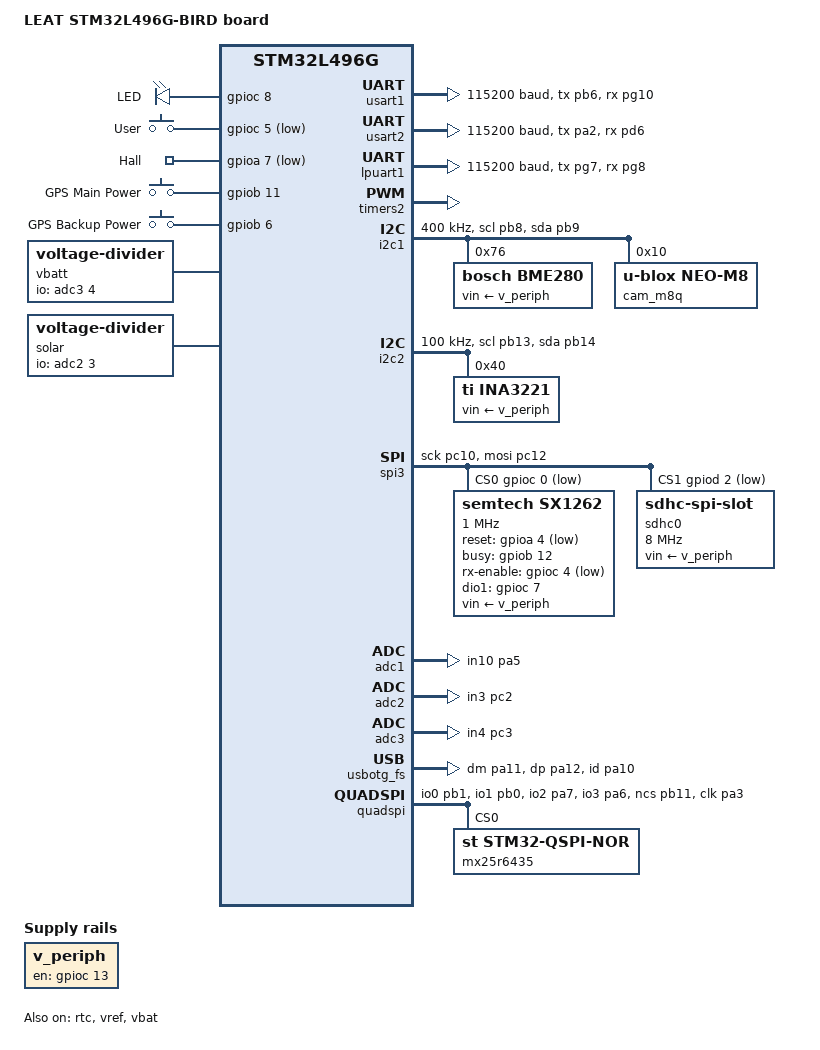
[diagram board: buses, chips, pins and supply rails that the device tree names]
/*
 * Copyright (c) 2017 Linaro Limited
 *
 * SPDX-License-Identifier: Apache-2.0
 */

/dts-v1/;
#include <st/l4/stm32l496Xg.dtsi>
#include <st/l4/stm32l496a(e-g)ix-pinctrl.dtsi>
#include "arduino_r3_connector.dtsi"
#include <zephyr/dt-bindings/input/input-event-codes.h>
#include <zephyr/dt-bindings/lora/sx126x.h>

/ {
	model = "LEAT STM32L496G-BIRD board";
	compatible = "leat,stm32l496g-bird";

	chosen {
		//zephyr,console = &usart2;
		//zephyr,shell-uart = &usart2;
		zephyr,console = &cdc_acm_uart0;
		zephyr,shell-uart = &cdc_acm_uart0;
		zephyr,sram = &sram0;
		zephyr,flash = &flash0;
		zephyr,flash-controller = &mx25r6435;
	};
	
	/* Custom pinctrl for SPI1 MISO with pull-up */
	soc {
		pinctrl: pin-controller@48000000 {
			spi1_miso_pb4_pullup: spi1_miso_pb4_pullup {
				pinmux = <STM32_PINMUX('B', 4, AF5)>;
				bias-pull-up;
			};
		};
	};
	

	leds {
		compatible = "gpio-leds";

		led: led {
			gpios = <&gpioc 8 GPIO_ACTIVE_HIGH>;
			label = "LED";
		};
	};

	gpio_keys {
		compatible = "gpio-keys";
		user_button: button {
			label = "User";
			gpios = <&gpioc 5 GPIO_ACTIVE_LOW>;
		};
		hall: hall {
			label = "Hall";
			gpios = <&gpioa 7 GPIO_ACTIVE_LOW>;
		};
        gps_main_power: gps_main_pwr {
            gpios = <&gpiob 11 GPIO_ACTIVE_HIGH>;
            label = "GPS Main Power";
        };
        gps_backup_power: gps_backup_pwr {
            gpios = <&gpiob 6 GPIO_ACTIVE_HIGH>;
            label = "GPS Backup Power";
        };
	};

	vbatt {
		compatible = "voltage-divider";
		io-channels = <&adc3 4>;
		output-ohms = <2000000>;
		full-ohms = <(1000000 + 2000000)>;
	};

	solar {
		compatible = "voltage-divider";
		io-channels = <&adc2 3>;
		output-ohms = <1000000>;
		full-ohms = <(4000000 + 1000000)>;
	};

	v_periph: v-periph-ctrl {
		compatible = "regulator-fixed";
		regulator-name = "v-periph";
		enable-gpios = <&gpioc 13 GPIO_ACTIVE_HIGH>;
		startup-delay-us = <2500>;
		regulator-boot-on;
	};

	aliases {
		led0 = &led;
		sw0 = &user_button;
		hall0 = &hall;
		mcuboot-led0 = &led;
		mcuboot-button0 = &user_button;
		gps-main-pwr = &gps_main_power;
        gps-backup-pwr = &gps_backup_power;
	};

	/* Custom pinctrl for SPI3 MISO with pull-up */
	soc {
		pinctrl: pin-controller@48000000 {
			spi3_miso_pc11_pullup: spi3_miso_pc11_pullup {
				pinmux = <STM32_PINMUX('C', 11, AF6)>;
				bias-pull-up;
			};
		};
	};
};

&clk_lsi {
	status = "okay";
};

&clk_hsi48 {
	status = "okay";
};

&clk_hsi {
	status = "okay";
};

&pll {
	div-m = <1>;
	mul-n = <20>;
	div-p = <7>;
	div-q = <2>;
	div-r = <4>;
	clocks = <&clk_hsi>;
	status = "okay";
};

&rcc {
	clocks = <&pll>;
	clock-frequency = <DT_FREQ_M(80)>;
	ahb-prescaler = <1>;
	apb1-prescaler = <1>;
	apb2-prescaler = <1>;
};

&usart1 {
	pinctrl-0 = <&usart1_tx_pb6 &usart1_rx_pg10>;
	pinctrl-names = "default";
	current-speed = <115200>;
	status = "okay";
};

&usart2 {
	pinctrl-0 = <&usart2_tx_pa2 &usart2_rx_pd6>;
	pinctrl-names = "default";
	current-speed = <115200>;
	status = "okay";
};

&lpuart1 {
	pinctrl-0 = <&lpuart1_tx_pg7 &lpuart1_rx_pg8>;
	pinctrl-names = "default";
	current-speed = <115200>;
	status = "okay";
};

&timers2 {
	status = "okay";

	pwm2: pwm {
		status = "okay";
		pinctrl-0 = <&tim2_ch1_pa0>;
		pinctrl-names = "default";
	};
};

&i2c1 {
	//pinctrl-0 = <&i2c1_scl_pb8 &i2c1_sda_pb7>;
	pinctrl-0 = <&i2c1_scl_pb8 &i2c1_sda_pb9>;
	pinctrl-names = "default";
	scl-gpios = <&gpiob 8 (GPIO_OPEN_DRAIN | GPIO_ACTIVE_HIGH)>;
    sda-gpios = <&gpiob 9 (GPIO_OPEN_DRAIN | GPIO_ACTIVE_HIGH)>;
	status = "okay";
	clock-frequency = <I2C_BITRATE_FAST>;

	bme280: bme280@76 {
		compatible = "bosch,bme280";
		status = "okay";
		reg = <0x76>;
		vin-supply = <&v_periph>;
		zephyr,deferred-init;
	};

	cam_m8q: gps@10 {
        compatible = "u-blox,neo-m8"; 
        reg = <0x10>;
        status = "okay";
    };
};


&i2c2 {
	pinctrl-0 = <&i2c2_scl_pb13 &i2c2_sda_pb14>;
	pinctrl-names = "default";
	clocks = <&rcc STM32_CLOCK(APB1, 22)>,
		<&rcc STM32_SRC_HSI I2C2_SEL(2)>;
	clock-frequency = <I2C_BITRATE_STANDARD>;
	scl-gpios = <&gpiob 13 (GPIO_OPEN_DRAIN | GPIO_PULL_UP)>;
	sda-gpios = <&gpiob 14 (GPIO_OPEN_DRAIN | GPIO_PULL_UP)>;
	status = "okay";

	ina3221: ina3221@40 {
		compatible = "ti,ina3221";
		reg = <0x40>;
		shunt-resistors = <150 150 0>;
		enable-channel = <1 1 0>;
		conv-time-bus = <7>;
		conv-time-shunt = <7>;
		avg-mode = <2>;
		vin-supply = <&v_periph>;
		status = "okay";
	};
};

&spi3 {
	pinctrl-0 = <&spi3_sck_pc10 &spi3_miso_pc11_pullup &spi3_mosi_pc12>;
	cs-gpios = <&gpioc 0 (GPIO_ACTIVE_LOW | GPIO_PULL_UP)>,
	           <&gpiod 2 (GPIO_ACTIVE_LOW | GPIO_PULL_UP)>;
	pinctrl-names = "default";
	status = "okay";

	lora: sx1262@0 {
		compatible = "semtech,sx1262";
		reg = <0>;
		label = "sx1262";
		reset-gpios = <&gpioa 4 GPIO_ACTIVE_LOW>;
		busy-gpios = <&gpiob 12 GPIO_ACTIVE_HIGH>;
		rx-enable-gpios = <&gpioc 4 GPIO_ACTIVE_LOW>;
		dio1-gpios = <&gpioc 7 GPIO_ACTIVE_HIGH>;
		dio2-tx-enable;
		dio3-tcxo-voltage = <SX126X_DIO3_TCXO_3V3>;
		tcxo-power-startup-delay-ms = <5>;
		spi-max-frequency = <1000000>;
		vin-supply = <&v_periph>;
	};

	sdhc0: sdhc@1 {
		compatible = "zephyr,sdhc-spi-slot";
		reg = <1>;
		status = "okay";
		/* Conservative SPI frequency to ensure reliable initialization */
		spi-max-frequency = <8000000>;
		/* Power delay for SD card initialization */
		power-delay-ms = <1500>;
		vin-supply = <&v_periph>;
		mmc {
			compatible = "zephyr,sdmmc-disk";
			disk-name = "SD";
			status = "okay";
		};
	};
};


&rtc {
	clocks = <&rcc STM32_CLOCK(APB1, 28)>,
		 <&rcc STM32_SRC_LSI RTC_SEL(2)>;
	status = "okay";
};

&sdmmc1 {
	pinctrl-0 = <&sdmmc1_d0_pc8 &sdmmc1_d1_pc9
		     &sdmmc1_d2_pc10 &sdmmc1_d3_pc11
		     &sdmmc1_ck_pc12 &sdmmc1_cmd_pd2>;
	pinctrl-names = "default";
	disk-name = "SD";
	status = "disabled";
};

&adc1 {
	pinctrl-0 = <&adc1_in10_pa5>;
	pinctrl-names = "default";
	st,adc-clock-source = "SYNC";
	st,adc-prescaler = <4>;
	status = "okay";
};

&adc2 {
	pinctrl-0 = <&adc2_in3_pc2>;
	pinctrl-names = "default";
	st,adc-clock-source = "SYNC";
	st,adc-prescaler = <4>;
	status = "okay";
};

&adc3 {
	pinctrl-0 = <&adc3_in4_pc3>;
	pinctrl-names = "default";
	st,adc-clock-source = "SYNC";
	st,adc-prescaler = <4>;
	st,adc-resolutions = <12 10 8 6>;
	sampling-times = <3 7 13 25 48 93 248 641>;
	st,adc-sequencer = "programmable";
	status = "okay";
};

&dma1 {
	status = "okay";
};

zephyr_udc0: &usbotg_fs {
	pinctrl-0 = <&usb_otg_fs_dm_pa11 &usb_otg_fs_dp_pa12 &usb_otg_fs_id_pa10>;
	pinctrl-names = "default";
	status = "okay";
};

&zephyr_udc0 {
	cdc_acm_uart0: cdc_acm_uart0 {
		compatible = "zephyr,cdc-acm-uart";
	};
};

&vref {
	status = "okay";
};

&vbat {
	status = "okay";
};

&dma2 {
	status = "okay";
};

&quadspi {
	pinctrl-0 = <&quadspi_bk1_io0_pb1 &quadspi_bk1_io1_pb0
		     &quadspi_bk1_io2_pa7 &quadspi_bk1_io3_pa6
		     &quadspi_bk1_ncs_pb11 &quadspi_clk_pa3>;
	pinctrl-names = "default";

	dmas = <&dma2 7 3 STM32_DMA_PERIPH_RX>; /* channel 7 request 3 on DMA2 */
	dma-names = "tx_rx";

	flash-id = <1>;
	status = "okay";

	mx25r6435: qspi-nor-flash@0 {
		compatible = "st,stm32-qspi-nor";
		reg = <0>;
		size = <DT_SIZE_M(64)>; /* 64 Mbits */
		qspi-max-frequency = <8000000>;
		cs-high-time = <3>; /* >= 30 ns */
		status = "okay";
		spi-bus-width = <4>;
		writeoc = "PP_1_4_4";
	};
};
